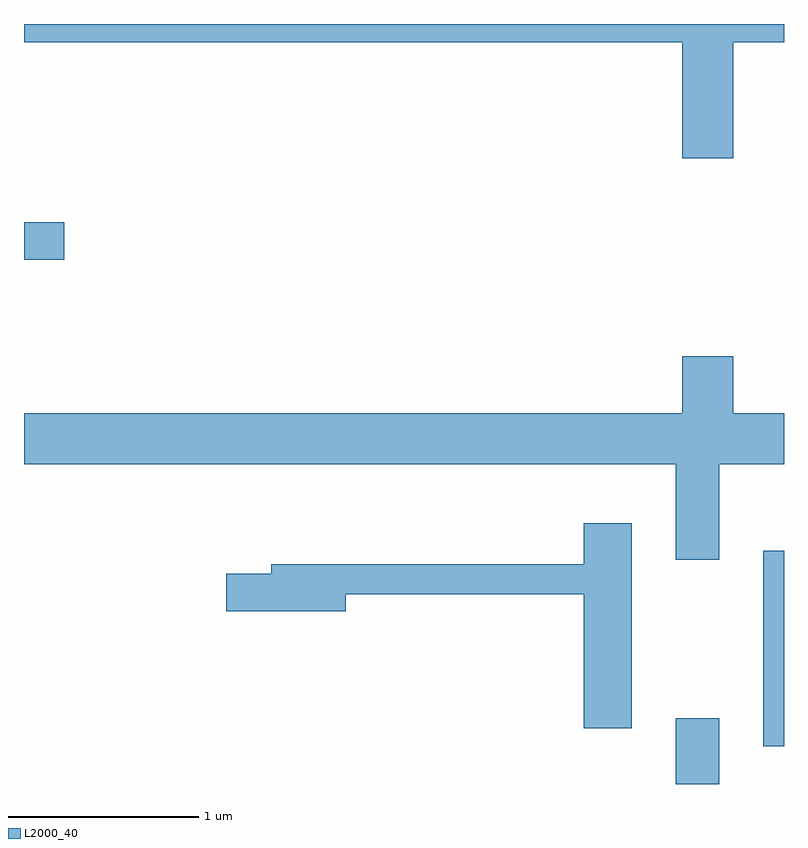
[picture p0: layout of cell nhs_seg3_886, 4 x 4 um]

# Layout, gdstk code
import gdstk
lib = gdstk.Library(unit=1e-6, precision=1e-09)
def R(c, l, rs):  # rectangles x0, y0, x1, y1
    for r in rs: c.add(gdstk.rectangle(r[:2], r[2:], *l))
def P(c, l, *ps):  # polygons
    for p in ps: c.add(gdstk.Polygon(p, *l))
L2000_40 = (2000, 40)

nhs_seg3_886 = lib.new_cell('nhs_seg3_886')
R(nhs_seg3_886, L2000_40, [(215.041,1119.892,215.269,1120.239), (215.501,1120.091,215.611,1121.119), (211.611,1122.651,211.824,1122.849)])
P(nhs_seg3_886, L2000_40, [(215.344,1123.796),(215.611,1123.796),(215.611,1123.892),(211.611,1123.892),(211.611,1123.796),(215.076,1123.796),(215.076,1123.186),(215.344,1123.186)],
  [(215.269,1121.576),(215.611,1121.576),(215.611,1121.844),(215.344,1121.844),(215.344,1122.144),(215.076,1122.144),(215.076,1121.844),(211.611,1121.844),(211.611,1121.576),(215.041,1121.576),(215.041,1121.071),(215.269,1121.071)],
  [(214.809,1121.264),(214.556,1121.264),(214.556,1121.049),(212.911,1121.049),(212.911,1120.999),(212.676,1120.999),(212.676,1120.801),(213.304,1120.801),(213.304,1120.891),(214.556,1120.891),(214.556,1120.186),(214.809,1120.186)])

lib.write_gds('nhs_seg3_886.gds')
